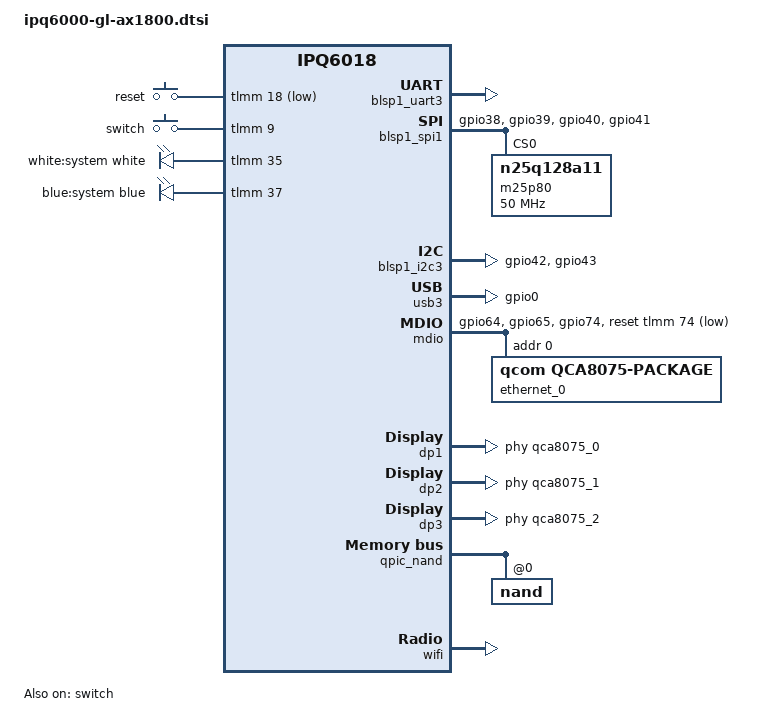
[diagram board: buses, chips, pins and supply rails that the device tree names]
/*
 * Copyright (c) 2019, The Linux Foundation. All rights reserved.
 *
 * Permission to use, copy, modify, and/or distribute this software for any
 * purpose with or without fee is hereby granted, provided that the above
 * copyright notice and this permission notice appear in all copies.
 *
 * THE SOFTWARE IS PROVIDED "AS IS" AND THE AUTHOR DISCLAIMS ALL WARRANTIES
 * WITH REGARD TO THIS SOFTWARE INCLUDING ALL IMPLIED WARRANTIES OF
 * MERCHANTABILITY AND FITNESS. IN NO EVENT SHALL THE AUTHOR BE LIABLE FOR
 * ANY SPECIAL, DIRECT, INDIRECT, OR CONSEQUENTIAL DAMAGES OR ANY DAMAGES
 * WHATSOEVER RESULTING FROM LOSS OF USE, DATA OR PROFITS, WHETHER IN AN
 * ACTION OF CONTRACT, NEGLIGENCE OR OTHER TORTIOUS ACTION, ARISING OUT OF
 * OR IN CONNECTION WITH THE USE OR PERFORMANCE OF THIS SOFTWARE.
 */

#include "ipq6018.dtsi"
#include "ipq6018-ess.dtsi"
#include "ipq6018-512m.dtsi"
#include "ipq6018-nss.dtsi"
#include "ipq6018-common.dtsi"


#include <dt-bindings/input/input.h>
#include <dt-bindings/gpio/gpio.h>
#include <dt-bindings/leds/common.h>

/ {
	aliases {
		ethernet0 = &dp1;
		ethernet1 = &dp2;
		ethernet2 = &dp3;
		label-mac-device = &dp1;
		serial0 = &blsp1_uart3;
		led-boot = &led_system_white;
		led-failsafe = &led_system_white;
		led-running = &led_system_white;
		led-upgrade = &led_system_white;
	};

	chosen {
		stdout-path = "serial0:115200n8";
		bootargs-append = " root=/dev/ubiblock0_1";
	};


    keys {
        compatible = "gpio-keys";

        reset {
            label = "reset";
            gpios = <&tlmm 18 GPIO_ACTIVE_LOW>;
            linux,code = <KEY_RESTART>;
        };

        switch {
            label = "switch";
            gpios = <&tlmm 9 GPIO_ACTIVE_HIGH>;
			linux,code = <KEY_WPS_BUTTON>;
		};
    };

    leds {
        compatible = "gpio-leds";

        led_system_white: system-white {
            label = "white:system";
            gpios = <&tlmm 35 GPIO_ACTIVE_HIGH>;
            color = <LED_COLOR_ID_WHITE>;
        };

        led_system_blue: system-blue {
            label = "blue:system";
            gpios = <&tlmm 37 GPIO_ACTIVE_HIGH>;
            color = <LED_COLOR_ID_BLUE>;
        };
    };
};

&tlmm {
	gpio-reserved-ranges = <20 1>;

	spi_1_pins: spi_1_pins {
		mux {
			pins = "gpio38", "gpio39", "gpio40", "gpio41";
			function = "blsp0_spi";
			drive-strength = <8>;
			bias-pull-down;
		};
	};

	button_pins: button_pins {
		switch_button {
			pins = "gpio9";
			function = "gpio";
			drive-strength = <8>;
			bias-pull-up;
		};
		reset_button {
			pins = "gpio18";
			function = "gpio";
			drive-strength = <8>;
			bias-pull-up;
		};
	};

	mdio_pins: mdio-pins {
		mdc {
			pins = "gpio64";
			function = "mdc";
			drive-strength = <8>;
			bias-pull-up;
		};

		mdio {
			pins = "gpio65";
			function = "mdio";
			drive-strength = <8>;
			bias-pull-up;
		};

		mux_2 {
			pins = "gpio74";
			function = "gpio";
			bias-pull-up;
		};
	};

	usb_power_pins: usb_power_pins {
		mux {
			pins = "gpio0";
			function = "gpio";
			bias-pull-up;
			output-high;
		};
	};

	leds_pins: leds_pins {
		white {
			pins = "gpio35";
			function = "gpio";
			drive-strength = <8>;
			bias-pull-down;
		};
		blue {
			pins = "gpio37";
			function = "gpio";
			drive-strength = <8>;
			bias-pull-down;
		};
	};

	i2c_1_pins: i2c_1_pins {
		mux {
			pins = "gpio42", "gpio43";
			function = "blsp2_i2c";
			drive-strength = <8>;
			bias-pull-down;
		};
	};
};

&blsp1_uart3 {
	pinctrl-0 = <&serial_3_pins>;
	pinctrl-names = "default";
	status = "okay";
};

&blsp1_spi1 {
	pinctrl-0 = <&spi_1_pins>;
	pinctrl-names = "default";
	cs-select = <0>;
	status = "okay";

	m25p80@0 {
		#address-cells = <1>;
		#size-cells = <1>;
		reg = <0>;
		compatible = "n25q128a11";
		linux,modalias = "m25p80", "n25q128a11";
		spi-max-frequency = <50000000>;
		use-default-sizes;
	};
};

&blsp1_i2c3 {
	pinctrl-0 = <&i2c_1_pins>;
	pinctrl-names = "default";
	status = "okay";
};

&usb3 {
	pinctrl-0 = <&usb_power_pins>;
	pinctrl-names = "default";
	status = "okay";
};

&edma {
	status = "okay";
};

&mdio {
	status = "okay";
	pinctrl-0 = <&mdio_pins>;
	pinctrl-names = "default";
	reset-gpios = <&tlmm 74 GPIO_ACTIVE_LOW>;

	ethernet_0: ethernet-phy-package@0 {
		compatible = "qcom,qca8075-package";
		#address-cells = <1>;
		#size-cells = <0>;
		reg = <0>;
		qcom,package-mode = "psgmii";

		qca8075_0: ethernet-phy@0 {
			compatible = "ethernet-phy-ieee802.3-c22";
			reg = <0>;
		};

		qca8075_1: ethernet-phy@1 {
			compatible = "ethernet-phy-ieee802.3-c22";
			reg = <1>;
		};

		qca8075_2: ethernet-phy@2 {
			compatible = "ethernet-phy-ieee802.3-c22";
			reg = <2>;
		};
	};
};

&switch {
	status = "okay";

	switch_lan_bmp = <(ESS_PORT2|ESS_PORT3)>; /* lan port bitmap */
	switch_wan_bmp = <ESS_PORT1>; /* wan port bitmap */
	switch_mac_mode = <MAC_MODE_PSGMII>;
	
	qcom,port_phyinfo {
		port@0 {
			port_id = <1>;
			phy_address = <0>;
		};
		port@1 {
			port_id = <2>;
			phy_address = <1>;
		};
		port@2 {
			port_id = <3>;
			phy_address = <2>;
		};
	};
};

&dp1{
	phy-handle = <&qca8075_0>;
	status = "okay";
	label = "wan";
};

&dp2{
	phy-handle = <&qca8075_1>;
	status = "okay";
	label = "lan1";
};

&dp3{
	phy-handle = <&qca8075_2>;
	status = "okay";
	label = "lan2";
};

&qpic_nand {
	status = "okay";

	nand@0 {
		reg = <0>;

		nand-ecc-strength = <4>;
		nand-ecc-step-size = <512>;
		nand-bus-width = <8>;

        partitions {
			compatible = "qcom,smem-part";
		};
	};
};


&wifi {
	status = "okay";

	qcom,ath11k-fw-memory-mode = <1>;
 };


&cpu0 {
	/delete-property/ cpu-supply;
};

&cpu1 {
	/delete-property/ cpu-supply;
};

&cpu2 {
	/delete-property/ cpu-supply;
};

&cpu3 {
	/delete-property/ cpu-supply;
};
